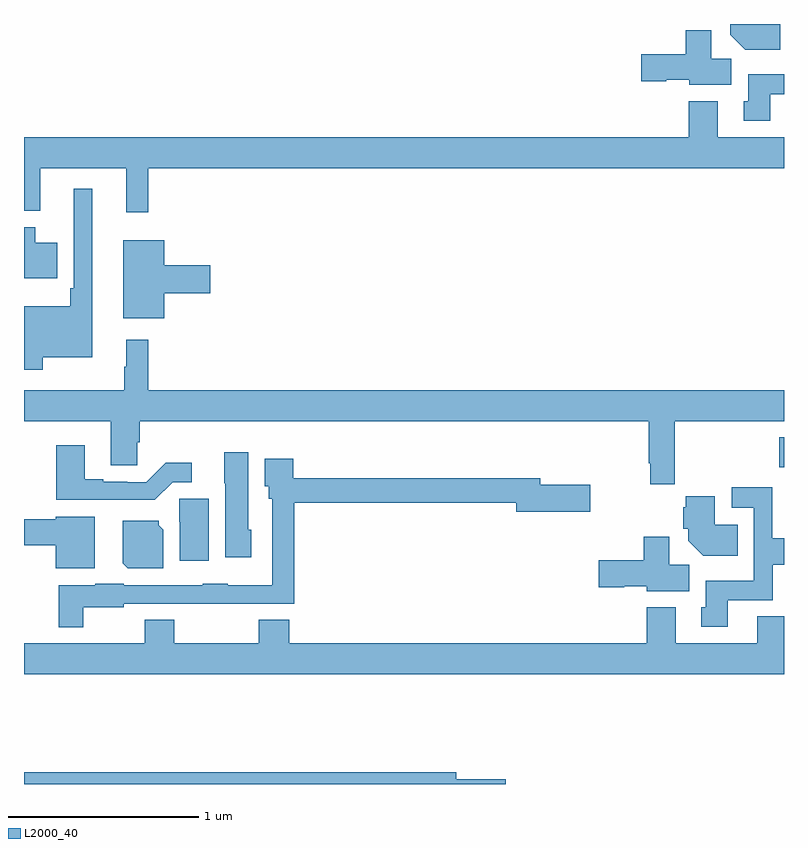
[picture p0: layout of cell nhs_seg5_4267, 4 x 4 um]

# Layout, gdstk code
import gdstk
lib = gdstk.Library(unit=1e-6, precision=1e-09)
def R(c, l, rs):  # rectangles x0, y0, x1, y1
    for r in rs: c.add(gdstk.rectangle(r[:2], r[2:], *l))
def P(c, l, *ps):  # polygons
    for p in ps: c.add(gdstk.Polygon(p, *l))
L2000_40 = (2000, 40)

nhs_seg5_4267 = lib.new_cell('nhs_seg5_4267')
R(nhs_seg5_4267, L2000_40, [(364.976,908.467,365,908.623)])
P(nhs_seg5_4267, L2000_40, [(364.979,910.799),(364.718,910.799),(364.718,910.742),(364.796,910.664),(364.979,910.664)],
  [(364.723,910.616),(364.618,910.616),(364.618,910.765),(364.484,910.765),(364.484,910.64),(364.248,910.64),(364.248,910.498),(364.38,910.498),(364.38,910.505),(364.5,910.505),(364.5,910.478),(364.723,910.478)],
  [(364.927,910.43),(365,910.43),(365,910.534),(364.811,910.534),(364.811,910.392),(364.787,910.392),(364.787,910.29),(364.927,910.29)],
  [(365,910.204),(364.651,910.204),(364.651,910.393),(364.499,910.393),(364.499,910.204),(361,910.204),(361,909.815),(361.085,909.815),(361.085,910.04),(361.538,910.04),(361.538,909.807),(361.655,909.807),(361.655,910.04),(365,910.04)],
  [(361.099,909.044),(361.36,909.044),(361.36,909.931),(361.263,909.931),(361.263,909.409),(361.243,909.409),(361.243,909.313),(361,909.313),(361,908.979),(361.099,908.979)],
  [(361.174,909.649),(361.06,909.649),(361.06,909.73),(361,909.73),(361,909.461),(361.174,909.461)],
  [(361.738,909.383),(361.981,909.383),(361.981,909.53),(361.738,909.53),(361.738,909.661),(361.523,909.661),(361.523,909.251),(361.738,909.251)],
  [(361.655,909.136),(361.538,909.136),(361.538,908.996),(361.527,908.996),(361.527,908.872),(361,908.872),(361,908.708),(361.457,908.708),(361.457,908.476),(361.596,908.476),(361.596,908.598),(361.61,908.598),(361.61,908.708),(364.288,908.708),(364.288,908.488),(364.296,908.488),(364.296,908.376),(364.424,908.376),(364.424,908.708),(365,908.708),(365,908.872),(361.655,908.872)],
  [(361.782,908.388),(361.882,908.388),(361.882,908.491),(361.747,908.491),(361.644,908.388),(361.544,908.388),(361.544,908.391),(361.417,908.391),(361.417,908.404),(361.321,908.404),(361.321,908.581),(361.169,908.581),(361.169,908.294),(361.688,908.294)],
  [(362.197,908.136),(362.179,908.136),(362.179,908.545),(362.054,908.545),(362.054,908.382),(362.06,908.382),(362.06,907.992),(362.197,907.992)],
  [(361.312,907.73),(361.524,907.73),(361.524,907.749),(361.941,907.749),(361.941,907.748),(362.173,907.748),(362.173,907.749),(362.423,907.749),(362.423,908.278),(363.59,908.278),(363.59,908.231),(363.979,908.231),(363.979,908.373),(363.718,908.373),(363.718,908.407),(362.417,908.407),(362.417,908.512),(362.267,908.512),(362.267,908.367),(362.288,908.367),(362.288,908.301),(362.307,908.301),(362.307,907.846),(362.073,907.846),(362.073,907.852),(361.941,907.852),(361.941,907.845),(361.524,907.845),(361.524,907.852),(361.374,907.852),(361.374,907.846),(361.183,907.846),(361.183,907.625),(361.312,907.625)],
  [(364.705,907.766),(364.941,907.766),(364.941,907.952),(365,907.952),(365,908.092),(364.938,908.092),(364.938,908.362),(364.725,908.362),(364.725,908.253),(364.842,908.253),(364.842,907.87),(364.589,907.87),(364.589,907.728),(364.565,907.728),(364.565,907.626),(364.705,907.626)],
  [(364.757,908.164),(364.636,908.164),(364.636,908.314),(364.484,908.314),(364.484,908.256),(364.471,908.256),(364.471,908.142),(364.496,908.142),(364.496,908.078),(364.574,908),(364.757,908)],
  [(361.972,908.301),(361.816,908.301),(361.816,908.178),(361.82,908.178),(361.82,907.974),(361.972,907.974)],
  [(361.372,908.206),(361.166,908.206),(361.166,908.192),(361,908.192),(361,908.056),(361.166,908.056),(361.166,907.934),(361.372,907.934)],
  [(361.732,908.138),(361.71,908.16),(361.71,908.185),(361.52,908.185),(361.52,907.96),(361.546,907.934),(361.732,907.934)],
  [(364.501,907.952),(364.396,907.952),(364.396,908.101),(364.262,908.101),(364.262,907.976),(364.026,907.976),(364.026,907.834),(364.158,907.834),(364.158,907.841),(364.278,907.841),(364.278,907.814),(364.501,907.814)],
  [(365,907.681),(364.859,907.681),(364.859,907.54),(364.429,907.54),(364.429,907.729),(364.277,907.729),(364.277,907.54),(362.396,907.54),(362.396,907.664),(362.236,907.664),(362.236,907.54),(361.791,907.54),(361.791,907.664),(361.636,907.664),(361.636,907.54),(361,907.54),(361,907.376),(365,907.376)],
  [(363.535,906.824),(363.274,906.824),(363.274,906.86),(361,906.86),(361,906.799),(363.535,906.799)])

lib.write_gds('nhs_seg5_4267.gds')
